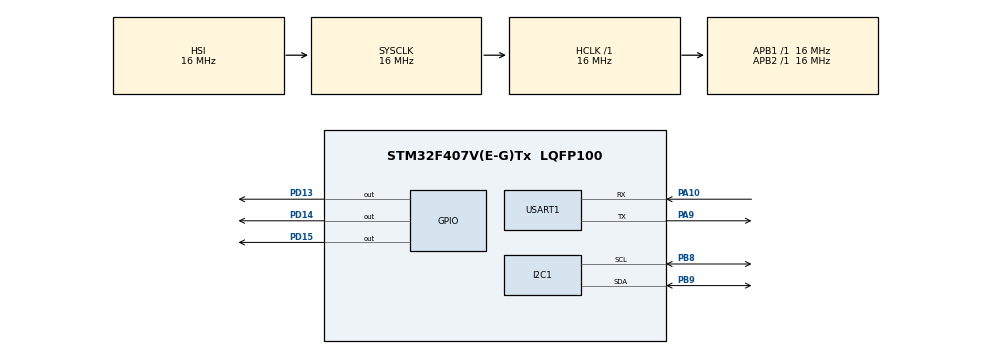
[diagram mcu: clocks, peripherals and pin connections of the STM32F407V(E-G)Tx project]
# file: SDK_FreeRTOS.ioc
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FREERTOS.configENABLE_BACKWARD_COMPATIBILITY=0
FREERTOS.configGENERATE_RUN_TIME_STATS=1
FREERTOS.configUSE_STATS_FORMATTING_FUNCTIONS=1
FREERTOS.configUSE_TRACE_FACILITY=1
I2C1.I2C_Mode=I2C_Fast
Mcu.Family=STM32F4
Mcu.Name=STM32F407V(E-G)Tx
Mcu.Package=LQFP100
NVIC.PriorityGroup=NVIC_PRIORITYGROUP_4
NVIC.TIM1_UP_TIM10_IRQn=true\:0\:0\:false\:false\:true\:false\:false\:true
NVIC.TimeBase=TIM1_UP_TIM10_IRQn
NVIC.TimeBaseIP=TIM1
PA10.Mode=Asynchronous
PA10.Signal=USART1_RX
PA13.Mode=JTAG_5_pins
PA13.Signal=SYS_JTMS-SWDIO
PA14.Mode=JTAG_5_pins
PA14.Signal=SYS_JTCK-SWCLK
PA15.Mode=JTAG_5_pins
PA15.Signal=SYS_JTDI
PA9.Mode=Asynchronous
PA9.Signal=USART1_TX
PB3.Mode=JTAG_5_pins
PB3.Signal=SYS_JTDO-SWO
PB4.Mode=JTAG_5_pins
PB4.Signal=SYS_JTRST
PB8.Mode=I2C
PB8.Signal=I2C1_SCL
PB9.Mode=I2C
PB9.Signal=I2C1_SDA
PD13.Signal=GPIO_Output
PD14.Signal=GPIO_Output
PD15.Signal=GPIO_Output
PH0-OSC_IN.Mode=HSE-External-Oscillator
PH0-OSC_IN.Signal=RCC_OSC_IN
PH1-OSC_OUT.Mode=HSE-External-Oscillator
PH1-OSC_OUT.Signal=RCC_OSC_OUT
ProjectManager.HeapSize=0x200
ProjectManager.StackSize=0x400
ProjectManager.TargetToolchain=STM32CubeIDE
RCC.AHBFreq_Value=16000000
RCC.APB1Freq_Value=16000000
RCC.APB2Freq_Value=16000000
RCC.CortexFreq_Value=16000000
RCC.HSE_VALUE=25000000
RCC.HSI_VALUE=16000000
RCC.LSE_VALUE=32768
RCC.SYSCLKFreq_VALUE=16000000
RCC.VCOOutputFreq_Value=192000000
USART1.VirtualMode=VM_ASYNC
VP_FREERTOS_VS_CMSIS_V1.Mode=CMSIS_V1
VP_SYS_VS_tim1.Mode=TIM1
board=custom

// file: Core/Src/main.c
/* USER CODE BEGIN Header */
/**
  ******************************************************************************
  * @file           : main.c
  * @brief          : Main program body
  ******************************************************************************
  * This notice applies to any and all portions of this file
  * that are not between comment pairs USER CODE BEGIN and
  * USER CODE END. Other portions of this file, whether
  * inserted by the user or by software development tools
  * are owned by their respective copyright owners.
  *
  * Copyright (c) 2019 STMicroelectronics International N.V.
  * All rights reserved.
  *
  * Redistribution and use in source and binary forms, with or without
  * modification, are permitted, provided that the following conditions are met:
  *
  * 1. Redistribution of source code must retain the above copyright notice,
  *    this list of conditions and the following disclaimer.
  * 2. Redistributions in binary form must reproduce the above copyright notice,
  *    this list of conditions and the following disclaimer in the documentation
  *    and/or other materials provided with the distribution.
  * 3. Neither the name of STMicroelectronics nor the names of other
  *    contributors to this software may be used to endorse or promote products
  *    derived from this software without specific written permission.
  * 4. This software, including modifications and/or derivative works of this
  *    software, must execute solely and exclusively on microcontroller or
  *    microprocessor devices manufactured by or for STMicroelectronics.
  * 5. Redistribution and use of this software other than as permitted under
  *    this license is void and will automatically terminate your rights under
  *    this license.
  *
  * THIS SOFTWARE IS PROVIDED BY STMICROELECTRONICS AND CONTRIBUTORS "AS IS"
  * AND ANY EXPRESS, IMPLIED OR STATUTORY WARRANTIES, INCLUDING, BUT NOT
  * LIMITED TO, THE IMPLIED WARRANTIES OF MERCHANTABILITY, FITNESS FOR A
  * PARTICULAR PURPOSE AND NON-INFRINGEMENT OF THIRD PARTY INTELLECTUAL PROPERTY
  * RIGHTS ARE DISCLAIMED TO THE FULLEST EXTENT PERMITTED BY LAW. IN NO EVENT
  * SHALL STMICROELECTRONICS OR CONTRIBUTORS BE LIABLE FOR ANY DIRECT, INDIRECT,
  * INCIDENTAL, SPECIAL, EXEMPLARY, OR CONSEQUENTIAL DAMAGES (INCLUDING, BUT NOT
  * LIMITED TO, PROCUREMENT OF SUBSTITUTE GOODS OR SERVICES; LOSS OF USE, DATA,
  * OR PROFITS; OR BUSINESS INTERRUPTION) HOWEVER CAUSED AND ON ANY THEORY OF
  * LIABILITY, WHETHER IN CONTRACT, STRICT LIABILITY, OR TORT (INCLUDING
  * NEGLIGENCE OR OTHERWISE) ARISING IN ANY WAY OUT OF THE USE OF THIS SOFTWARE,
  * EVEN IF ADVISED OF THE POSSIBILITY OF SUCH DAMAGE.
  *
  ******************************************************************************
  */
/* USER CODE END Header */

#include "main.h"
#include "cmsis_os.h"
#include "i2c.h"
#include "usart.h"
#include "gpio.h"

/* USER CODE BEGIN Includes */
#include "oled.h"
#include "snake.h"
/* USER CODE END Includes */

void SystemClock_Config(void);
void MX_FREERTOS_Init(void);

int main(void)
{

  /* MCU Configuration--------------------------------------------------------*/

  /* Reset of all peripherals, Initializes the Flash interface and the Systick. */
  HAL_Init();

  /* Configure the system clock */
  SystemClock_Config();

  /* Initialize all configured peripherals */
  MX_GPIO_Init();
  MX_I2C1_Init();
  MX_USART1_UART_Init();
  /* USER CODE BEGIN 2 */
  oled_Init();      /* включаем дисплей до запуска планировщика: задач еще нет, шину I2C никто не занимает */
  Game_Init();      /* игра начинается со стартового экрана */
  /* USER CODE END 2 */

  /* Call init function for freertos objects (in freertos.c) */
  MX_FREERTOS_Init();
  /* Start scheduler */
  osKernelStart();

  /* We should never get here as control is now taken by the scheduler */
  /* Infinite loop */
  while (1)
  {

  }
}

void SystemClock_Config(void)
{
  RCC_OscInitTypeDef RCC_OscInitStruct = {0};
  RCC_ClkInitTypeDef RCC_ClkInitStruct = {0};

  /** Configure the main internal regulator output voltage
  */
  __HAL_RCC_PWR_CLK_ENABLE();
  __HAL_PWR_VOLTAGESCALING_CONFIG(PWR_REGULATOR_VOLTAGE_SCALE1);
  /** Initializes the CPU, AHB and APB busses clocks
  */
  RCC_OscInitStruct.OscillatorType = RCC_OSCILLATORTYPE_HSI;
  RCC_OscInitStruct.HSIState = RCC_HSI_ON;
  RCC_OscInitStruct.HSICalibrationValue = RCC_HSICALIBRATION_DEFAULT;
  RCC_OscInitStruct.PLL.PLLState = RCC_PLL_NONE;
  if (HAL_RCC_OscConfig(&RCC_OscInitStruct) != HAL_OK)
  {
    Error_Handler();
  }
  /** Initializes the CPU, AHB and APB busses clocks
  */
  RCC_ClkInitStruct.ClockType = RCC_CLOCKTYPE_HCLK|RCC_CLOCKTYPE_SYSCLK
                              |RCC_CLOCKTYPE_PCLK1|RCC_CLOCKTYPE_PCLK2;
  RCC_ClkInitStruct.SYSCLKSource = RCC_SYSCLKSOURCE_HSI;
  RCC_ClkInitStruct.AHBCLKDivider = RCC_SYSCLK_DIV1;
  RCC_ClkInitStruct.APB1CLKDivider = RCC_HCLK_DIV1;
  RCC_ClkInitStruct.APB2CLKDivider = RCC_HCLK_DIV1;

  if (HAL_RCC_ClockConfig(&RCC_ClkInitStruct, FLASH_LATENCY_0) != HAL_OK)
  {
    Error_Handler();
  }
}

 /**
  * @brief  Period elapsed callback in non blocking mode
  * @note   This function is called  when TIM1 interrupt took place, inside
  * HAL_TIM_IRQHandler(). It makes a direct call to HAL_IncTick() to increment
  * a global variable "uwTick" used as application time base.
  * @param  htim : TIM handle
  * @retval None
  */
void HAL_TIM_PeriodElapsedCallback(TIM_HandleTypeDef *htim)
{
  if (htim->Instance == TIM1) {
    HAL_IncTick();
  }
}

void Error_Handler(void)
{
}

/************************ (C) COPYRIGHT STMicroelectronics *****END OF FILE****/

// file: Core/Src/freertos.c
/* USER CODE BEGIN Header */
/**
  ******************************************************************************
  * File Name          : freertos.c
  * Description        : Code for freertos applications
  ******************************************************************************
  * This notice applies to any and all portions of this file
  * that are not between comment pairs USER CODE BEGIN and
  * USER CODE END. Other portions of this file, whether
  * inserted by the user or by software development tools
  * are owned by their respective copyright owners.
  *
  * Copyright (c) 2019 STMicroelectronics International N.V.
  * All rights reserved.
  *
  * Redistribution and use in source and binary forms, with or without
  * modification, are permitted, provided that the following conditions are met:
  *
  * 1. Redistribution of source code must retain the above copyright notice,
  *    this list of conditions and the following disclaimer.
  * 2. Redistributions in binary form must reproduce the above copyright notice,
  *    this list of conditions and the following disclaimer in the documentation
  *    and/or other materials provided with the distribution.
  * 3. Neither the name of STMicroelectronics nor the names of other
  *    contributors to this software may be used to endorse or promote products
  *    derived from this software without specific written permission.
  * 4. This software, including modifications and/or derivative works of this
  *    software, must execute solely and exclusively on microcontroller or
  *    microprocessor devices manufactured by or for STMicroelectronics.
  * 5. Redistribution and use of this software other than as permitted under
  *    this license is void and will automatically terminate your rights under
  *    this license.
  *
  * THIS SOFTWARE IS PROVIDED BY STMICROELECTRONICS AND CONTRIBUTORS "AS IS"
  * AND ANY EXPRESS, IMPLIED OR STATUTORY WARRANTIES, INCLUDING, BUT NOT
  * LIMITED TO, THE IMPLIED WARRANTIES OF MERCHANTABILITY, FITNESS FOR A
  * PARTICULAR PURPOSE AND NON-INFRINGEMENT OF THIRD PARTY INTELLECTUAL PROPERTY
  * RIGHTS ARE DISCLAIMED TO THE FULLEST EXTENT PERMITTED BY LAW. IN NO EVENT
  * SHALL STMICROELECTRONICS OR CONTRIBUTORS BE LIABLE FOR ANY DIRECT, INDIRECT,
  * INCIDENTAL, SPECIAL, EXEMPLARY, OR CONSEQUENTIAL DAMAGES (INCLUDING, BUT NOT
  * LIMITED TO, PROCUREMENT OF SUBSTITUTE GOODS OR SERVICES; LOSS OF USE, DATA,
  * OR PROFITS; OR BUSINESS INTERRUPTION) HOWEVER CAUSED AND ON ANY THEORY OF
  * LIABILITY, WHETHER IN CONTRACT, STRICT LIABILITY, OR TORT (INCLUDING
  * NEGLIGENCE OR OTHERWISE) ARISING IN ANY WAY OUT OF THE USE OF THIS SOFTWARE,
  * EVEN IF ADVISED OF THE POSSIBILITY OF SUCH DAMAGE.
  *
  ******************************************************************************
  */
/* USER CODE END Header */

#include "FreeRTOS.h"
#include "task.h"
#include "main.h"
#include "cmsis_os.h"

/* USER CODE BEGIN Includes */
#include "oled.h"
#include "keypad.h"
#include "snake.h"
#include "screen.h"
/* USER CODE END Includes */

/* USER CODE BEGIN Variables */
/*
 * Как устроена игра "Змейка"
 *
 *   Task_Input --keyQueue--> Task_Game --redrawSem--> Task_Display
 *   (клавиатура)             (правила игры)           (экран)
 *
 * Task_Input   каждые 20 мс опрашивает клавиатуру и кладет номера нажатых кнопок в очередь.
 * Task_Game    двигает змейку, проверяет столкновения, считает очки и время.
 * Task_Display рисует игру и отправляет картинку на OLED-дисплей.
 *
 * Общие ресурсы, которые нельзя трогать сразу из двух задач:
 *   i2cMutex  - шина I2C. Через нее работают и дисплей, и клавиатура.
 *   gameMutex - структура game. Task_Game меняет ее, а Task_Display читает.
 *               Меняет game только Task_Game, поэтому свои же поля он читает без мьютекса.
 */
osThreadId Task_InputHandle;
osThreadId Task_GameHandle;
osThreadId Task_DisplayHandle;

osMessageQId keyQueueHandle;
osMutexId i2cMutexHandle;
osMutexId gameMutexHandle;
osSemaphoreId redrawSemHandle;
/* USER CODE END Variables */

/* USER CODE BEGIN FunctionPrototypes */
void StartTaskInput(void const * argument);
void StartTaskGame(void const * argument);
void StartTaskDisplay(void const * argument);
/* USER CODE END FunctionPrototypes */

void MX_FREERTOS_Init(void); /* (MISRA C 2004 rule 8.1) */

/* GetIdleTaskMemory prototype (linked to static allocation support) */
void vApplicationGetIdleTaskMemory( StaticTask_t **ppxIdleTaskTCBBuffer, StackType_t **ppxIdleTaskStackBuffer, uint32_t *pulIdleTaskStackSize );

/* Hook prototypes */
void configureTimerForRunTimeStats(void);
unsigned long getRunTimeCounterValue(void);

/* USER CODE BEGIN 1 */
/* Functions needed when configGENERATE_RUN_TIME_STATS is on */
__weak void configureTimerForRunTimeStats(void)
{

}

__weak unsigned long getRunTimeCounterValue(void)
{
return 0;
}
/* USER CODE END 1 */

/* USER CODE BEGIN GET_IDLE_TASK_MEMORY */
static StaticTask_t xIdleTaskTCBBuffer;
static StackType_t xIdleStack[configMINIMAL_STACK_SIZE];

void vApplicationGetIdleTaskMemory( StaticTask_t **ppxIdleTaskTCBBuffer, StackType_t **ppxIdleTaskStackBuffer, uint32_t *pulIdleTaskStackSize )
{
  *ppxIdleTaskTCBBuffer = &xIdleTaskTCBBuffer;
  *ppxIdleTaskStackBuffer = &xIdleStack[0];
  *pulIdleTaskStackSize = configMINIMAL_STACK_SIZE;
  /* place for user code */
}
/* USER CODE END GET_IDLE_TASK_MEMORY */

void MX_FREERTOS_Init(void) {

  /* USER CODE BEGIN RTOS_MUTEX */
  /* Мьютекс шины I2C: дисплей и клавиатура работают через одну шину */
  osMutexDef(i2cMutex);
  i2cMutexHandle = osMutexCreate(osMutex(i2cMutex));

  /* Мьютекс данных игры: Task_Game пишет, Task_Display читает */
  osMutexDef(gameMutex);
  gameMutexHandle = osMutexCreate(osMutex(gameMutex));
  /* USER CODE END RTOS_MUTEX */

  /* USER CODE BEGIN RTOS_SEMAPHORES */
  /* Двоичный семафор "экран нужно перерисовать". Сразу после создания он свободен,
     поэтому Task_Display нарисует стартовый экран без ожидания */
  osSemaphoreDef(redrawSem);
  redrawSemHandle = osSemaphoreCreate(osSemaphore(redrawSem), 1);
  /* USER CODE END RTOS_SEMAPHORES */

  /* USER CODE BEGIN RTOS_QUEUES */
  /* Очередь нажатых кнопок: до 4 номеров кнопок */
  osMessageQDef(keyQueue, 4, uint32_t);
  keyQueueHandle = osMessageCreate(osMessageQ(keyQueue), NULL);
  /* USER CODE END RTOS_QUEUES */

  /* USER CODE BEGIN RTOS_THREADS */
  /* Приоритеты: клавиатура важнее всего (чтобы не пропустить нажатие),
     дисплей - наименее важная задача. Размер стека задан в словах (1 слово = 4 байта). */
  osThreadDef(Task_Input, StartTaskInput, osPriorityAboveNormal, 0, 256);
  Task_InputHandle = osThreadCreate(osThread(Task_Input), NULL);

  osThreadDef(Task_Game, StartTaskGame, osPriorityNormal, 0, 256);
  Task_GameHandle = osThreadCreate(osThread(Task_Game), NULL);

  osThreadDef(Task_Display, StartTaskDisplay, osPriorityBelowNormal, 0, 256);
  Task_DisplayHandle = osThreadCreate(osThread(Task_Display), NULL);
  /* USER CODE END RTOS_THREADS */

}

/* USER CODE BEGIN Application */

/* ---------- Task_Input: опрос клавиатуры ---------- */

void StartTaskInput(void const * argument)
{
  int8_t key;
  int8_t last_key = KEY_NONE;

  for(;;)
  {
    osMutexWait(i2cMutexHandle, osWaitForever);     /* шина I2C только для нас */
    key = Keypad_Scan();
    osMutexRelease(i2cMutexHandle);

    /* Сообщаем только о новом нажатии, а не о том, что кнопку продолжают держать */
    if (key != KEY_NONE && key != last_key)
    {
      osMessagePut(keyQueueHandle, key, 0);
    }
    last_key = key;

    osDelay(20);
  }
}

/* ---------- Task_Game: правила игры ---------- */

/* Достает из очереди нажатые кнопки, пока одна из них не повернет змейку.
   Остальные кнопки ждут в очереди следующего шага: если игрок быстро нажал "вверх"
   и "влево", змейка сначала повернет вверх, а на следующем шаге - влево. */
static void HandleKeys(void)
{
  osEvent event = osMessageGet(keyQueueHandle, 0);
  int turned = 0;

  while (event.status == osEventMessage && turned == 0)
  {
    switch (event.value.v)
    {
      case KEY_UP:
        turned = Game_SetDirection(DIR_UP);
        break;
      case KEY_RIGHT:
        turned = Game_SetDirection(DIR_RIGHT);
        break;
      case KEY_DOWN:
        turned = Game_SetDirection(DIR_DOWN);
        break;
      case KEY_LEFT:
        turned = Game_SetDirection(DIR_LEFT);
        break;
    }

    if (turned == 0)
    {
      event = osMessageGet(keyQueueHandle, 0);      /* эта кнопка ничего не изменила - берем следующую */
    }
  }
}

/* Стартовый экран или экран конца игры: ждем любую кнопку и начинаем новую игру */
static void WaitForNewGame(void)
{
  osEvent event;

  if (game.state == GAME_OVER)
  {
    /* Игрок мог еще жать кнопки поворота, поэтому пока показываем результат, нажатия игнорируем */
    osDelay(800);
  }

  /* Выбрасываем кнопки, которые нажали заранее */
  event = osMessageGet(keyQueueHandle, 0);
  while (event.status == osEventMessage)
  {
    event = osMessageGet(keyQueueHandle, 0);
  }

  osMessageGet(keyQueueHandle, osWaitForever);      /* задача спит, пока не придет кнопка */

  osMutexWait(gameMutexHandle, osWaitForever);
  Game_Start(osKernelSysTick());
  osMutexRelease(gameMutexHandle);

  osSemaphoreRelease(redrawSemHandle);              /* просим перерисовать экран */
}

/* Один шаг игры: подождать, применить нажатые кнопки, сдвинуть змейку */
static void PlayOneStep(void)
{
  osDelay(Game_StepDelay());
  HandleKeys();

  osMutexWait(gameMutexHandle, osWaitForever);
  Game_Step(osKernelSysTick());
  osMutexRelease(gameMutexHandle);

  osSemaphoreRelease(redrawSemHandle);              /* просим перерисовать экран */
}

void StartTaskGame(void const * argument)
{
  for(;;)
  {
    if (game.state == GAME_PLAY)
    {
      PlayOneStep();
    }
    else
    {
      WaitForNewGame();
    }
  }
}

/* ---------- Task_Display: вывод на дисплей ---------- */

void StartTaskDisplay(void const * argument)
{
  for(;;)
  {
    osSemaphoreWait(redrawSemHandle, osWaitForever);    /* спим, пока игра не попросит обновить экран */

    osMutexWait(gameMutexHandle, osWaitForever);
    Screen_Draw(&game);                                 /* рисуем в буфер в памяти - быстро */
    osMutexRelease(gameMutexHandle);

    osMutexWait(i2cMutexHandle, osWaitForever);
    oled_UpdateScreen();                                /* отправляем буфер на дисплей по I2C - медленно */
    osMutexRelease(i2cMutexHandle);
  }
}

/* USER CODE END Application */

/************************ (C) COPYRIGHT STMicroelectronics *****END OF FILE****/
